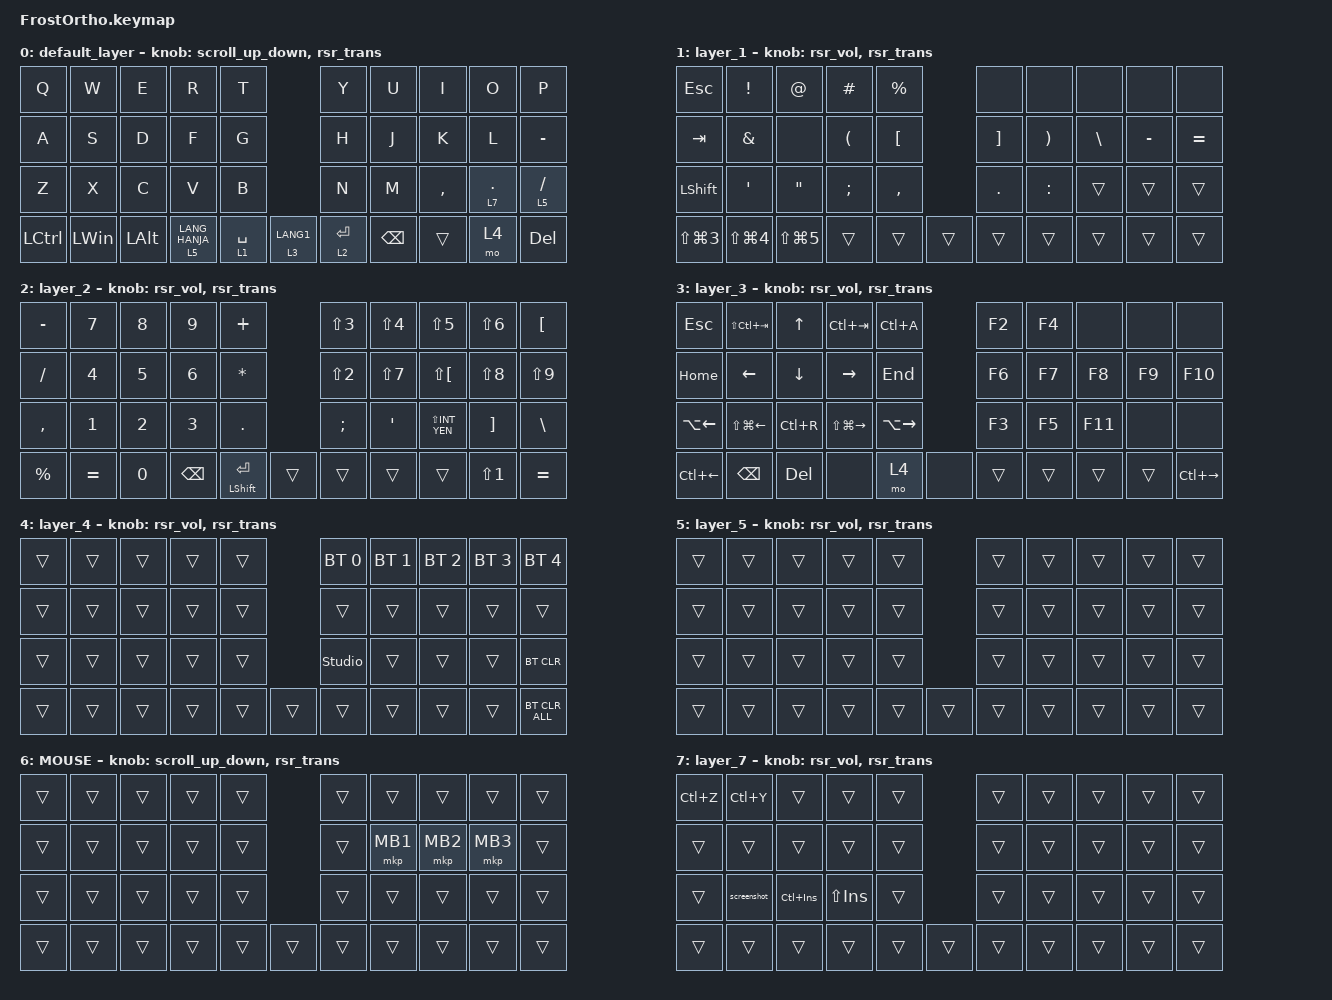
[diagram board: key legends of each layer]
#include <input/processors.dtsi>
#include <behaviors/runtime-sensor-rotate.dtsi>
#include <behaviors.dtsi>
#include <dt-bindings/zmk/bt.h>
#include <dt-bindings/zmk/keys.h>
#include <dt-bindings/zmk/pointing.h>

#define ZMK_POINTING_DEFAULT_SCRL_VAL 100
#define MOUSE 6

&mt {
    flavor = "balanced";
    quick-tap-ms = <0>;
};

// AML クリックしたときにタイムアウトを延長

&mkp_input_listener { input-processors = <&zip_temp_layer 6 10000>; };

/ {
    combos { compatible = "zmk,combos"; };

    macros {
        to_layer_0: to_layer_0 {
            compatible = "zmk,behavior-macro-one-param";
            #binding-cells = <1>;
            bindings = <&to 0 &macro_param_1to1 &kp MACRO_PLACEHOLDER>;
            label = "TO_LAYER_0";
        };

        screenshot: screenshot {
            compatible = "zmk,behavior-macro";
            #binding-cells = <0>;
            bindings =
                <&to 7>,
                <&macro_press>,
                <&kp LEFT_WIN &kp LEFT_SHIFT &kp S>,
                <&macro_release>,
                <&kp LEFT_WIN &kp LEFT_SHIFT &kp S>;

            label = "SCREENSHOT";
        };
    };

    behaviors {
        lt_to_layer_0: lt_to_layer_0 {
            compatible = "zmk,behavior-hold-tap";
            label = "LAYER_TAP_TO_0";
            bindings = <&mo>, <&to_layer_0>;

            #binding-cells = <2>;
            tapping-term-ms = <300>;
        };

        // Kyemap Editor用

        scroll_up_down: behavior_sensor_rotate_mouse_wheel_up_down {
            compatible = "zmk,behavior-sensor-rotate";
            #sensor-binding-cells = <0>;
            tap-ms = <20>;
            bindings = <&msc SCRL_UP>, <&msc SCRL_DOWN>;
        };

        vol_up_down: vol_up_down {
            compatible = "zmk,behavior-sensor-rotate";
            #sensor-binding-cells = <0>;
            tap-ms = <5>;
            bindings = <&kp C_VOL_DN>, <&kp C_VOL_UP>;
        };

        // DYA Studio用

        rsr_vol: rsr_vol {
            compatible = "zmk,behavior-runtime-sensor-rotate";
            #sensor-binding-cells = <0>;
            tap-ms = <5>;
            cw-binding = <&kp C_VOL_DN>;
            ccw-binding = <&kp C_VOL_UP>;
        };
    };

    keymap {
        compatible = "zmk,keymap";

        default_layer {
            bindings = <
&kp Q             &kp W         &kp E         &kp R             &kp T                         &kp Y        &kp U          &kp I      &kp O         &kp P
&kp A             &kp S         &kp D         &kp F             &kp G                         &kp H        &kp J          &kp K      &kp L         &kp MINUS
&kp Z             &kp X         &kp C         &kp V             &kp B                         &kp N        &kp M          &kp COMMA  &lt 7 PERIOD  &lt 5 SLASH
&kp LEFT_CONTROL  &kp LEFT_WIN  &kp LEFT_ALT  &lt 5 LANG_HANJA  &lt 1 SPACE  &lt 3 LANG1      &lt 2 ENTER  &kp BACKSPACE  &trans     &mo 4         &kp DEL
            >;

            sensor-bindings = <&scroll_up_down>, <&rsr_trans>;
        };

        layer_1 {
            bindings = <
&kp ESCAPE            &kp EXCL              &kp AT             &kp HASH              &kp PERCENT                   &none              &none                  &none          &none      &none
&kp TAB               &kp AMPERSAND         &none              &kp LEFT_PARENTHESIS  &kp LEFT_BRACKET              &kp RIGHT_BRACKET  &kp RIGHT_PARENTHESIS  &kp BACKSLASH  &kp MINUS  &kp EQUAL
&kp LEFT_SHIFT        &kp SINGLE_QUOTE      &kp DOUBLE_QUOTES  &kp SEMI              &kp COMMA                     &kp PERIOD         &kp COLON              &trans         &trans     &trans
&kp LS(LG(NUMBER_3))  &kp LS(LG(NUMBER_4))  &kp LS(LG(N5))     &trans                &trans            &trans      &trans             &trans                 &trans         &trans     &trans
            >;

            sensor-bindings = <&rsr_vol &rsr_trans>;
        };

        layer_2 {
            bindings = <
&kp MINUS    &kp N7     &kp N8  &kp N9         &kp PLUS                          &kp LS(NUMBER_3)  &kp LS(NUMBER_4)  &kp LS(NUMBER_5)      &kp LS(NUMBER_6)   &kp LEFT_BRACKET
&kp SLASH    &kp N4     &kp N5  &kp N6         &kp STAR                          &kp LS(N2)        &kp LS(N7)        &kp LS(LEFT_BRACKET)  &kp LS(NUMBER_8)   &kp LS(NUMBER_9)
&kp COMMA    &kp N1     &kp N2  &kp N3         &kp PERIOD                        &kp SEMICOLON     &kp SQT           &kp LS(INT_YEN)       &kp RIGHT_BRACKET  &kp BACKSLASH
&kp PERCENT  &kp EQUAL  &kp N0  &kp BACKSPACE  &mt LEFT_SHIFT ENTER  &trans      &trans            &trans            &trans                &kp LS(NUMBER_1)   &kp EQUAL
            >;

            sensor-bindings = <&rsr_vol &rsr_trans>;
        };

        layer_3 {
            bindings = <
&kp ESCAPE          &kp LS(LC(TAB))         &kp UP_ARROW    &kp LC(TAB)              &kp LC(A)                 &kp F2  &kp F4  &none    &none   &none
&kp HOME            &kp LEFT_ARROW          &kp DOWN_ARROW  &kp RIGHT_ARROW          &kp END                   &kp F6  &kp F7  &kp F8   &kp F9  &kp F10
&kp LA(LEFT)        &kp LS(LG(LEFT_ARROW))  &kp LC(R)       &kp LS(LG(RIGHT_ARROW))  &kp LA(RIGHT)             &kp F3  &kp F5  &kp F11  &none   &none
&kp LC(LEFT_ARROW)  &kp BACKSPACE           &kp DELETE      &none                    &mo 4          &none      &trans  &trans  &trans   &trans  &kp LC(RIGHT_ARROW)
            >;

            sensor-bindings = <&rsr_vol &rsr_trans>;
        };

        layer_4 {
            bindings = <
&trans  &trans  &trans  &trans  &trans              &bt BT_SEL 0    &bt BT_SEL 1  &bt BT_SEL 2  &bt BT_SEL 3  &bt BT_SEL 4
&trans  &trans  &trans  &trans  &trans              &trans          &trans        &trans        &trans        &trans
&trans  &trans  &trans  &trans  &trans              &studio_unlock  &trans        &trans        &trans        &bt BT_CLR
&trans  &trans  &trans  &trans  &trans  &trans      &trans          &trans        &trans        &trans        &bt BT_CLR_ALL
            >;

            sensor-bindings = <&rsr_vol &rsr_trans>;
        };

        layer_5 {
            bindings = <
&trans  &trans  &trans  &trans  &trans              &trans  &trans  &trans  &trans  &trans
&trans  &trans  &trans  &trans  &trans              &trans  &trans  &trans  &trans  &trans
&trans  &trans  &trans  &trans  &trans              &trans  &trans  &trans  &trans  &trans
&trans  &trans  &trans  &trans  &trans  &trans      &trans  &trans  &trans  &trans  &trans
            >;

            sensor-bindings = <&rsr_vol &rsr_trans>;
        };

        MOUSE {
            bindings = <
&trans  &trans  &trans  &trans  &trans              &trans  &trans    &trans    &trans    &trans
&trans  &trans  &trans  &trans  &trans              &trans  &mkp MB1  &mkp MB2  &mkp MB3  &trans
&trans  &trans  &trans  &trans  &trans              &trans  &trans    &trans    &trans    &trans
&trans  &trans  &trans  &trans  &trans  &trans      &trans  &trans    &trans    &trans    &trans
            >;

            sensor-bindings = <&scroll_up_down>, <&rsr_trans>;
        };

        layer_7 {
            bindings = <
&kp LC(Z)  &kp LC(Y)    &trans       &trans       &trans              &trans  &trans  &trans  &trans  &trans
&trans     &trans       &trans       &trans       &trans              &trans  &trans  &trans  &trans  &trans
&trans     &screenshot  &kp LC(INS)  &kp LS(INS)  &trans              &trans  &trans  &trans  &trans  &trans
&trans     &trans       &trans       &trans       &trans  &trans      &trans  &trans  &trans  &trans  &trans
            >;

            sensor-bindings = <&rsr_vol &rsr_trans>;
        };
    };
};
